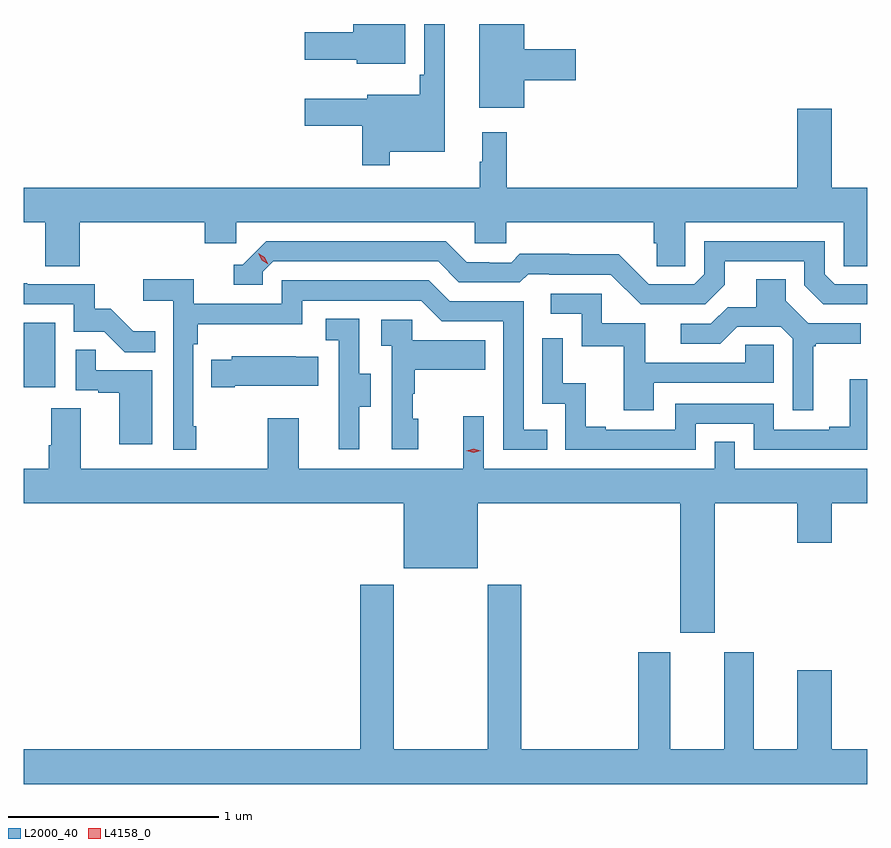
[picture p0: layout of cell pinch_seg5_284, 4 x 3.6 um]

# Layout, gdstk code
import gdstk
lib = gdstk.Library(unit=1e-6, precision=1e-09)
def R(c, l, rs):  # rectangles x0, y0, x1, y1
    for r in rs: c.add(gdstk.rectangle(r[:2], r[2:], *l))
def P(c, l, *ps):  # polygons
    for p in ps: c.add(gdstk.Polygon(p, *l))
L2000_40 = (2000, 40)
L4158_0 = (4158, 0)

pinch_seg5_284 = lib.new_cell('pinch_seg5_284')
R(pinch_seg5_284, L2000_40, [(904.596,910.59,904.744,910.897)])
P(pinch_seg5_284, L2000_40, [(906.331,911.708),(906.592,911.708),(906.592,912.313),(906.495,912.313),(906.495,912.073),(906.475,912.073),(906.475,911.977),(906.225,911.977),(906.225,911.959),(905.928,911.959),(905.928,911.83),(906.202,911.83),(906.202,911.643),(906.331,911.643)],
  [(906.97,912.047),(907.213,912.047),(907.213,912.194),(906.97,912.194),(906.97,912.313),(906.755,912.313),(906.755,911.915),(906.97,911.915)],
  [(906.406,912.313),(906.158,912.313),(906.158,912.273),(905.928,912.273),(905.928,912.143),(906.174,912.143),(906.174,912.125),(906.406,912.125)],
  [(904.862,911.372),(905.453,911.372),(905.453,911.274),(905.604,911.274),(905.604,911.372),(906.735,911.372),(906.735,911.274),(906.885,911.274),(906.885,911.372),(907.583,911.372),(907.583,911.274),(907.597,911.274),(907.597,911.164),(907.734,911.164),(907.734,911.372),(908.484,911.372),(908.484,911.164),(908.596,911.164),(908.596,911.536),(908.428,911.536),(908.428,911.911),(908.264,911.911),(908.264,911.536),(906.887,911.536),(906.887,911.8),(906.77,911.8),(906.77,911.66),(906.759,911.66),(906.759,911.536),(904.596,911.536),(904.596,911.372),(904.697,911.372),(904.697,911.164),(904.862,911.164)],
  [(907.921,911.077),(907.921,911.187),(908.298,911.187),(908.298,911.073),(908.388,910.983),(908.596,910.983),(908.596,911.079),(908.442,911.079),(908.394,911.127),(908.394,911.283),(907.824,911.283),(907.824,911.127),(907.776,911.079),(907.56,911.079),(907.418,911.221),(907.182,911.221),(907.182,911.224),(906.949,911.224),(906.907,911.181),(906.804,911.181),(906.804,911.184),(906.697,911.184),(906.598,911.283),(905.745,911.283),(905.634,911.172),(905.591,911.172),(905.591,911.076),(905.73,911.076),(905.73,911.139),(905.778,911.187),(906.561,911.187),(906.66,911.088),(906.949,911.088),(906.988,911.127),(907.087,911.127),(907.087,911.124),(907.38,911.124),(907.521,910.983),(907.827,910.983)],
  [(905.413,910.405),(905.4,910.405),(905.4,910.793),(905.42,910.793),(905.42,910.889),(905.916,910.889),(905.916,911.001),(906.48,911.001),(906.579,910.902),(906.87,910.902),(906.87,910.293),(907.079,910.293),(907.079,910.389),(906.966,910.389),(906.966,910.998),(906.616,910.998),(906.517,911.097),(905.82,911.097),(905.82,910.986),(905.402,910.986),(905.402,911.102),(905.163,911.102),(905.163,911),(905.304,911),(905.304,910.293),(905.413,910.293)],
  [(908.341,910.785),(908.353,910.785),(908.353,910.796),(908.566,910.796),(908.566,910.893),(908.316,910.893),(908.209,911),(908.209,911.102),(908.069,911.102),(908.069,910.97),(907.934,910.97),(907.854,910.89),(907.713,910.89),(907.713,910.797),(907.9,910.797),(907.981,910.878),(908.187,910.878),(908.244,910.821),(908.244,910.482),(908.341,910.482)],
  [(905.219,910.855),(905.115,910.855),(905.008,910.962),(904.932,910.962),(904.932,911.079),(904.613,911.079),(904.613,911.084),(904.596,911.084),(904.596,910.983),(904.833,910.983),(904.833,910.854),(904.977,910.854),(905.075,910.756),(905.219,910.756)],
  [(907.585,910.611),(908.154,910.611),(908.154,910.791),(908.017,910.791),(908.017,910.707),(907.543,910.707),(907.543,910.893),(907.338,910.893),(907.338,911.034),(907.095,911.034),(907.095,910.938),(907.242,910.938),(907.242,910.785),(907.441,910.785),(907.441,910.482),(907.585,910.482)],
  [(906.187,910.498),(906.241,910.498),(906.241,910.653),(906.186,910.653),(906.186,910.916),(906.027,910.916),(906.027,910.813),(906.09,910.813),(906.09,910.509),(906.089,910.509),(906.089,910.296),(906.187,910.296)],
  [(906.466,910.44),(906.441,910.44),(906.441,910.559),(906.451,910.559),(906.451,910.673),(906.785,910.673),(906.785,910.813),(906.438,910.813),(906.438,910.911),(906.291,910.911),(906.291,910.787),(906.342,910.787),(906.342,910.296),(906.466,910.296)],
  [(907.782,910.416),(908.058,910.416),(908.058,910.293),(908.596,910.293),(908.596,910.627),(908.513,910.627),(908.513,910.402),(908.417,910.402),(908.417,910.389),(908.154,910.389),(908.154,910.512),(907.686,910.512),(907.686,910.389),(907.357,910.389),(907.357,910.402),(907.262,910.402),(907.262,910.61),(907.152,910.61),(907.152,910.822),(907.056,910.822),(907.056,910.512),(907.164,910.512),(907.164,910.293),(907.782,910.293)],
  [(905.206,910.671),(904.937,910.671),(904.937,910.769),(904.842,910.769),(904.842,910.575),(904.949,910.575),(904.949,910.563),(905.048,910.563),(905.048,910.32),(905.206,910.32)],
  [(905.596,910.598),(905.993,910.598),(905.993,910.735),(905.885,910.735),(905.885,910.738),(905.583,910.738),(905.583,910.72),(905.485,910.72),(905.485,910.591),(905.596,910.591)],
  [(907.873,910.04),(908.264,910.04),(908.264,909.852),(908.428,909.852),(908.428,910.04),(908.596,910.04),(908.596,910.204),(907.968,910.204),(907.968,910.331),(907.872,910.331),(907.872,910.204),(906.777,910.204),(906.777,910.453),(906.68,910.453),(906.68,910.204),(905.899,910.204),(905.899,910.444),(905.752,910.444),(905.752,910.204),(904.867,910.204),(904.867,910.49),(904.727,910.49),(904.727,910.316),(904.715,910.316),(904.715,910.204),(904.596,910.204),(904.596,910.04),(906.398,910.04),(906.398,909.731),(906.748,909.731),(906.748,910.04),(907.709,910.04),(907.709,909.426),(907.873,909.426)],
  [(908.596,908.872),(908.428,908.872),(908.428,909.247),(908.264,909.247),(908.264,908.872),(908.059,908.872),(908.059,909.334),(907.919,909.334),(907.919,908.872),(907.663,908.872),(907.663,909.334),(907.511,909.334),(907.511,908.872),(906.956,908.872),(906.956,909.652),(906.796,909.652),(906.796,908.872),(906.351,908.872),(906.351,909.652),(906.191,909.652),(906.191,908.872),(904.596,908.872),(904.596,908.708),(908.596,908.708)])
P(pinch_seg5_284, L4158_0, [(906.729,910.279),(906.694,910.289),(906.694,910.289),(906.694,910.289),(906.729,910.299),(906.764,910.288),(906.764,910.288),(906.764,910.288)],
  [(905.755,911.174),(905.724,911.193),(905.707,911.225),(905.707,911.226),(905.708,911.226),(905.738,911.206),(905.755,911.174),(905.755,911.174)])

lib.write_gds('pinch_seg5_284.gds')
